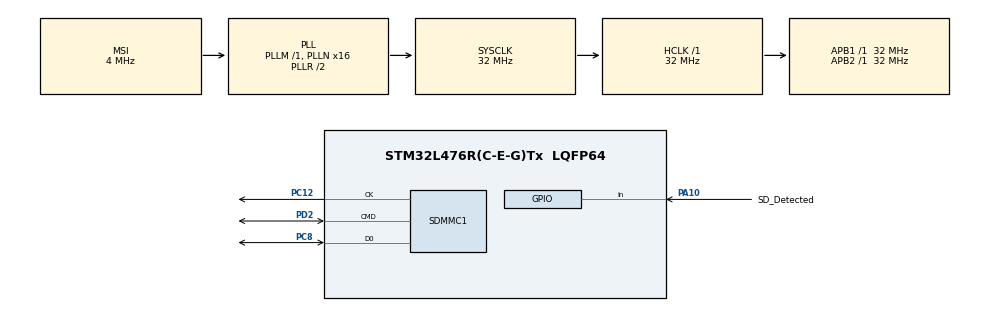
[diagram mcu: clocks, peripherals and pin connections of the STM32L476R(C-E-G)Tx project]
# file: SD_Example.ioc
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Mcu.Family=STM32L4
RCC.MSI_VALUE=4000000
PA14\ (JTCK-SWCLK).Mode=Serial_Wire
FATFS0.BSP.STBoard=false
RCC.CortexFreq_Value=32000000
FATFS._USE_LFN=1
FATFS0.BSP.api=Unknown
PD2.GPIO_PuPd=GPIO_PULLUP
VP_FATFS_VS_SDIO.Mode=SDIO
PA10.GPIO_PuPd=GPIO_PULLDOWN
PC12.Signal=SDMMC1_CK
FATFS0.BSP.mode=Input
PC8.Signal=SDMMC1_D0
RCC.SYSCLKSource=RCC_SYSCLKSOURCE_PLLCLK
ProjectManager.StackSize=0x1200
FATFS0.BSP.instance=PA10
PA14\ (JTCK-SWCLK).Signal=SYS_JTCK-SWCLK
NVIC.SDMMC1_IRQn=true\:0\:0\:false\:false\:true\:true\:true
ProjectManager.TargetToolchain=STM32CubeIDE
RCC.HCLKFreq_Value=32000000
RCC.APB2TimFreq_Value=32000000
RCC.USBFreq_Value=16000000
RCC.LSE_VALUE=32768
RCC.AHBFreq_Value=32000000
FATFS0.BSP.ip=GPIO
FATFS.BSP.number=1
PD2.Mode=SD_1_bit
RCC.HSE_VALUE=8000000
PC12.Mode=SD_1_bit
FATFS0.BSP.i2caddr=0
board=custom
RCC.VCOOutputFreq_Value=64000000
FATFS.USE_DMA_CODE_SD=0
RCC.APB2Freq_Value=32000000
RCC.ADCFreq_Value=32000000
PA10.GPIO_Label=SD_Detected
Mcu.Name=STM32L476R(C-E-G)Tx
FATFS._MAX_SS=4096
PC8.Mode=SD_1_bit
PC8.GPIO_PuPd=GPIO_PULLUP
PA13\ (JTMS-SWDIO).Mode=Serial_Wire
RCC.SYSCLKFreq_VALUE=32000000
Mcu.Package=LQFP64
FATFS0.BSP.solution=PA10
PA10.Signal=GPIO_Input
ProjectManager.HeapSize=0x600
RCC.HSI_VALUE=16000000
NVIC.PriorityGroup=NVIC_PRIORITYGROUP_4
RCC.PLLN=16
RCC.APB1TimFreq_Value=32000000
PC12.GPIO_PuPd=GPIO_PULLUP
PA13\ (JTMS-SWDIO).Signal=SYS_JTMS-SWDIO
PD2.Signal=SDMMC1_CMD
RCC.APB1Freq_Value=32000000
FATFS0.BSP.name=Detect_SDIO
RCC.PLLSAI1Q=RCC_PLLQ_DIV4
RCC.PLLSAI1N=16

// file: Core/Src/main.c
/* USER CODE BEGIN Header */
/**
  ******************************************************************************
  * @file           : main.c
  * @brief          : Main program body
  ******************************************************************************
  * @attention
  *
  * <h2><center>&copy; Copyright (c) 2021 STMicroelectronics.
  * All rights reserved.</center></h2>
  *
  * This software component is licensed by ST under BSD 3-Clause license,
  * the "License"; You may not use this file except in compliance with the
  * License. You may obtain a copy of the License at:
  *                        opensource.org/licenses/BSD-3-Clause
  *
  ******************************************************************************
  */
/* USER CODE END Header */
#include "main.h"
#include "fatfs.h"
/* USER CODE BEGIN Includes */
#include "sd_card.h"
/* USER CODE END Includes */

SD_HandleTypeDef hsd1;

void SystemClock_Config(void);
static void MX_GPIO_Init(void);
static void MX_SDMMC1_SD_Init(void);

int main(void)
{
  /* USER CODE BEGIN 1 */
	SD_CARD sd;
	uint32_t byteswritten, bytesread; //file write/read counts
	uint8_t wtext[] = "Yet another test"; //file buffer
	uint8_t rtext[_MAX_SS]; //file read buffer
	uint8_t file_path[50] = "sub_test/stm32.txt";
  /* USER CODE END 1 */

  /* MCU Configuration--------------------------------------------------------*/

  /* Reset of all peripherals, Initializes the Flash interface and the Systick. */
  HAL_Init();

  /* Configure the system clock */
  SystemClock_Config();

  /* Initialize all configured peripherals */
  MX_GPIO_Init();
  MX_SDMMC1_SD_Init();
  MX_FATFS_Init();
  /* USER CODE BEGIN 2 */
  //FATFS_LinkDriver(&SD_Driver, SDPath);

/*  if(init_sd(&sd) == -1) {
	  Error_Handler();
*/

  if(init_sd(&sd) != FR_OK) {
	  Error_Handler();
  }
  else { //file system already exists, try to open a file

	  bytesread = read_from_file(&sd, file_path, 35);

	  memcpy(&sd.write_buffer, wtext, sizeof(wtext));
	  byteswritten = write_to_file(&sd, file_path, sizeof(wtext));

	  unmount(&sd);

	  //older tests below

	  //open file, create it and write
	  if(f_open(&SDFile, "sub_test/stm32.txt", FA_CREATE_ALWAYS | FA_WRITE) != FR_OK) {
		  Error_Handler();
		  }
	  }

  	  //write to the text file
  	  sd.res = f_write(&SDFile, wtext, strlen((char *)wtext), (void *)&byteswritten);
  	  if((byteswritten == 0) || (sd.res != FR_OK)) {
  		  Error_Handler();
  	  } else {
  		  f_close(&SDFile);

	  //test read the file
	  f_open(&SDFile, "stm32.txt", FA_READ);
	  memset(rtext, 0, sizeof(rtext));
	  sd.res = f_read(&SDFile, rtext, sizeof(rtext), (UINT*)&bytesread);
	  if((bytesread == 0) || (sd.res != FR_OK)) {
		  Error_Handler();
	  }
	  f_close(&SDFile);

	  //checking for file existence
/*
	  //expect FR_OK, functions properly
	  stat_test = f_stat("sub_test/stm32.txt", &stat_test_info);
	  //expect FR_NO_FILE, functions properly
	  stat_test = f_stat("sub_test/stm31.txt", &stat_test_info);
*/
  }
  //unmount disk
  f_mount(&SDFatFS, (TCHAR const*)NULL, 0);
  /* USER CODE END 2 */

  /* Infinite loop */
  while (1)
  {

  }
}

void SystemClock_Config(void)
{
  RCC_OscInitTypeDef RCC_OscInitStruct = {0};
  RCC_ClkInitTypeDef RCC_ClkInitStruct = {0};
  RCC_PeriphCLKInitTypeDef PeriphClkInit = {0};

  /** Initializes the RCC Oscillators according to the specified parameters
  * in the RCC_OscInitTypeDef structure.
  */
  RCC_OscInitStruct.OscillatorType = RCC_OSCILLATORTYPE_MSI;
  RCC_OscInitStruct.MSIState = RCC_MSI_ON;
  RCC_OscInitStruct.MSICalibrationValue = 0;
  RCC_OscInitStruct.MSIClockRange = RCC_MSIRANGE_6;
  RCC_OscInitStruct.PLL.PLLState = RCC_PLL_ON;
  RCC_OscInitStruct.PLL.PLLSource = RCC_PLLSOURCE_MSI;
  RCC_OscInitStruct.PLL.PLLM = 1;
  RCC_OscInitStruct.PLL.PLLN = 16;
  RCC_OscInitStruct.PLL.PLLP = RCC_PLLP_DIV7;
  RCC_OscInitStruct.PLL.PLLQ = RCC_PLLQ_DIV2;
  RCC_OscInitStruct.PLL.PLLR = RCC_PLLR_DIV2;
  if (HAL_RCC_OscConfig(&RCC_OscInitStruct) != HAL_OK)
  {
    Error_Handler();
  }
  /** Initializes the CPU, AHB and APB buses clocks
  */
  RCC_ClkInitStruct.ClockType = RCC_CLOCKTYPE_HCLK|RCC_CLOCKTYPE_SYSCLK
                              |RCC_CLOCKTYPE_PCLK1|RCC_CLOCKTYPE_PCLK2;
  RCC_ClkInitStruct.SYSCLKSource = RCC_SYSCLKSOURCE_PLLCLK;
  RCC_ClkInitStruct.AHBCLKDivider = RCC_SYSCLK_DIV1;
  RCC_ClkInitStruct.APB1CLKDivider = RCC_HCLK_DIV1;
  RCC_ClkInitStruct.APB2CLKDivider = RCC_HCLK_DIV1;

  if (HAL_RCC_ClockConfig(&RCC_ClkInitStruct, FLASH_LATENCY_1) != HAL_OK)
  {
    Error_Handler();
  }
  PeriphClkInit.PeriphClockSelection = RCC_PERIPHCLK_SDMMC1;
  PeriphClkInit.Sdmmc1ClockSelection = RCC_SDMMC1CLKSOURCE_PLLSAI1;
  PeriphClkInit.PLLSAI1.PLLSAI1Source = RCC_PLLSOURCE_MSI;
  PeriphClkInit.PLLSAI1.PLLSAI1M = 1;
  PeriphClkInit.PLLSAI1.PLLSAI1N = 16;
  PeriphClkInit.PLLSAI1.PLLSAI1P = RCC_PLLP_DIV7;
  PeriphClkInit.PLLSAI1.PLLSAI1Q = RCC_PLLQ_DIV4;
  PeriphClkInit.PLLSAI1.PLLSAI1R = RCC_PLLR_DIV2;
  PeriphClkInit.PLLSAI1.PLLSAI1ClockOut = RCC_PLLSAI1_48M2CLK;
  if (HAL_RCCEx_PeriphCLKConfig(&PeriphClkInit) != HAL_OK)
  {
    Error_Handler();
  }
  /** Configure the main internal regulator output voltage
  */
  if (HAL_PWREx_ControlVoltageScaling(PWR_REGULATOR_VOLTAGE_SCALE1) != HAL_OK)
  {
    Error_Handler();
  }
}

static void MX_SDMMC1_SD_Init(void)
{

  hsd1.Instance = SDMMC1;
  hsd1.Init.ClockEdge = SDMMC_CLOCK_EDGE_RISING;
  hsd1.Init.ClockBypass = SDMMC_CLOCK_BYPASS_DISABLE;
  hsd1.Init.ClockPowerSave = SDMMC_CLOCK_POWER_SAVE_DISABLE;
  hsd1.Init.BusWide = SDMMC_BUS_WIDE_1B;
  hsd1.Init.HardwareFlowControl = SDMMC_HARDWARE_FLOW_CONTROL_DISABLE;
  hsd1.Init.ClockDiv = 0;
  /* USER CODE BEGIN SDMMC1_Init 2 */
 // hsd1.Init.BusWide = SDMMC_BUS_WIDE_4B;
  /* USER CODE END SDMMC1_Init 2 */

}

static void MX_GPIO_Init(void)
{
  GPIO_InitTypeDef GPIO_InitStruct = {0};

  /* GPIO Ports Clock Enable */
  __HAL_RCC_GPIOC_CLK_ENABLE();
  __HAL_RCC_GPIOA_CLK_ENABLE();
  __HAL_RCC_GPIOD_CLK_ENABLE();

  /*Configure GPIO pin : SD_Detected_Pin */
  GPIO_InitStruct.Pin = SD_Detected_Pin;
  GPIO_InitStruct.Mode = GPIO_MODE_INPUT;
  GPIO_InitStruct.Pull = GPIO_PULLDOWN;
  HAL_GPIO_Init(SD_Detected_GPIO_Port, &GPIO_InitStruct);

}

/* USER CODE BEGIN 4 */
//init SD Card (in main since it involves hardware)

/* USER CODE END 4 */

void Error_Handler(void)
{
  __disable_irq();
  while (1)
  {
  }
}

/************************ (C) COPYRIGHT STMicroelectronics *****END OF FILE****/
